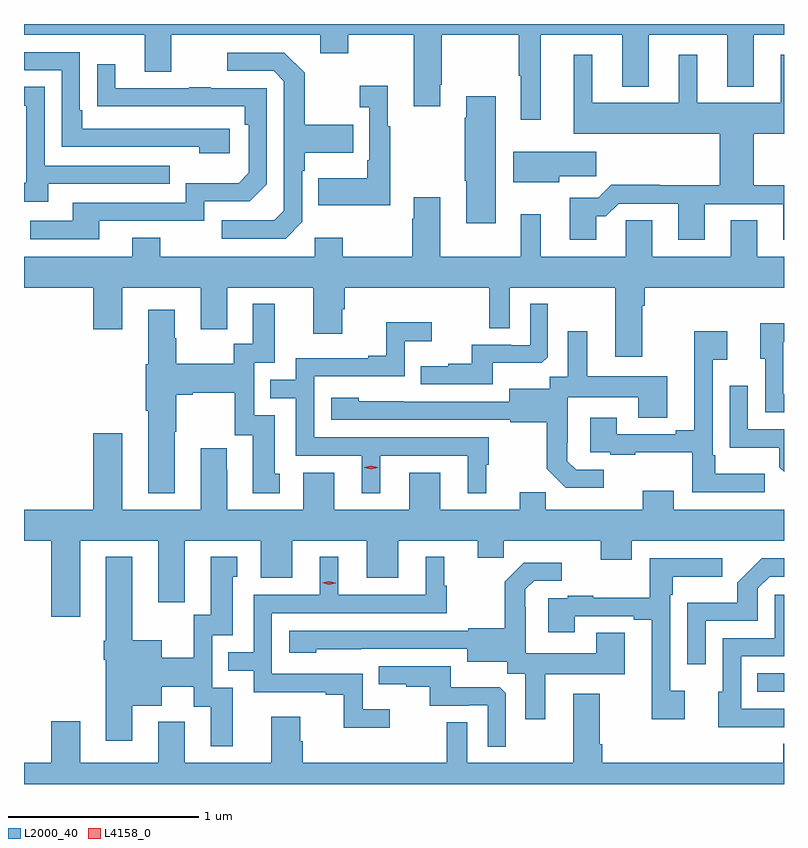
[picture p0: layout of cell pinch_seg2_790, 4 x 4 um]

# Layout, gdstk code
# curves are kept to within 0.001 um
import gdstk
lib = gdstk.Library(unit=1e-6, precision=1e-09)
def R(c, l, rs):  # rectangles x0, y0, x1, y1
    for r in rs: c.add(gdstk.rectangle(r[:2], r[2:], *l))
def P(c, l, *ps):  # polygons
    for p in ps: c.add(gdstk.Polygon(p, *l))
L2000_40 = (2000, 40)
L4158_0 = (4158, 0)

pinch_seg2_790 = lib.new_cell('pinch_seg2_790')
R(pinch_seg2_790, L2000_40, [(687.673,614.874,687.814,614.97)])
P(pinch_seg2_790, L2000_40, [(686.533,618.332),(686.963,618.332),(686.963,618.059),(687.103,618.059),(687.103,618.332),(687.515,618.332),(687.515,618.059),(687.655,618.059),(687.655,618.332),(687.814,618.332),(687.814,618.388),(683.814,618.388),(683.814,618.332),(684.449,618.332),(684.449,618.138),(684.589,618.138),(684.589,618.332),(685.373,618.332),(685.373,618.233),(685.521,618.233),(685.521,618.332),(685.865,618.332),(685.865,617.955),(686.005,617.955),(686.005,618.067),(686.013,618.067),(686.013,618.332),(686.419,618.332),(686.419,618.116),(686.429,618.116),(686.429,617.883),(686.533,617.883)],
  [(684.898,617.838),(684.121,617.838),(684.121,617.935),(684.108,617.935),(684.108,618.24),(683.814,618.24),(683.814,618.144),(684.012,618.144),(684.012,617.742),(684.737,617.742),(684.737,617.708),(684.898,617.708)],
  [(685.278,617.346),(685.278,617.615),(685.291,617.615),(685.291,617.711),(685.547,617.711),(685.547,617.859),(685.291,617.859),(685.291,618.131),(685.185,618.237),(684.885,618.237),(684.885,618.141),(685.128,618.141),(685.182,618.087),(685.182,617.406),(685.131,617.355),(684.855,617.355),(684.855,617.259),(685.191,617.259)],
  [(686.827,617.375),(686.876,617.375),(686.943,617.442),(687.257,617.442),(687.257,617.253),(687.397,617.253),(687.397,617.439),(687.809,617.439),(687.809,617.253),(687.814,617.253),(687.814,617.54),(687.654,617.54),(687.654,617.81),(687.814,617.81),(687.814,618.226),(687.797,618.226),(687.797,617.974),(687.358,617.974),(687.358,618.226),(687.26,618.226),(687.26,617.974),(686.806,617.974),(686.806,618.226),(686.708,618.226),(686.708,617.81),(687.476,617.81),(687.476,617.54),(687.161,617.54),(687.161,617.543),(686.906,617.543),(686.836,617.473),(686.687,617.473),(686.687,617.253),(686.827,617.253)],
  [(684.211,617.352),(684.762,617.352),(684.762,617.454),(685.002,617.454),(685.092,617.544),(685.092,618.051),(684.797,618.051),(684.797,618.056),(684.685,618.056),(684.685,618.051),(684.295,618.051),(684.295,618.175),(684.199,618.175),(684.199,617.956),(684.976,617.955),(684.976,617.858),(684.996,617.858),(684.996,617.604),(684.943,617.551),(684.666,617.551),(684.666,617.448),(684.071,617.448),(684.071,617.352),(683.847,617.352),(683.847,617.256),(684.211,617.256)],
  [(685.741,617.851),(685.729,617.851),(685.729,618.064),(685.581,618.064),(685.581,617.951),(685.632,617.951),(685.632,617.671),(685.62,617.671),(685.62,617.575),(685.363,617.575),(685.363,617.435),(685.741,617.435)],
  [(683.941,617.547),(684.581,617.547),(684.581,617.643),(683.922,617.643),(683.922,618.059),(683.814,618.059),(683.814,617.958),(683.826,617.958),(683.826,617.553),(683.814,617.553),(683.814,617.453),(683.941,617.453)],
  [(686.296,618.007),(686.141,618.007),(686.141,617.894),(686.134,617.894),(686.134,617.563),(686.141,617.563),(686.141,617.34),(686.296,617.34)],
  [(686.632,617.587),(686.827,617.587),(686.827,617.716),(686.388,617.716),(686.388,617.555),(686.632,617.555)],
  [(687.814,617.164),(687.673,617.164),(687.673,617.354),(687.533,617.354),(687.533,617.164),(687.121,617.164),(687.121,617.354),(686.982,617.354),(686.982,617.164),(686.533,617.164),(686.533,617.386),(686.429,617.386),(686.429,617.164),(686.005,617.164),(686.005,617.476),(685.865,617.476),(685.865,617.363),(685.858,617.363),(685.858,617.164),(685.491,617.164),(685.491,617.263),(685.344,617.263),(685.344,617.164),(684.531,617.164),(684.531,617.263),(684.383,617.263),(684.383,617.164),(683.814,617.164),(683.814,617),(684.179,617),(684.179,616.782),(684.331,616.782),(684.331,617),(684.743,617),(684.743,616.782),(684.883,616.782),(684.883,617),(685.337,617),(685.337,616.758),(685.489,616.758),(685.489,616.887),(685.502,616.887),(685.502,617),(686.262,617),(686.262,616.786),(686.37,616.786),(686.37,617),(686.927,617),(686.927,616.638),(687.067,616.638),(687.067,616.904),(687.08,616.904),(687.08,617),(687.814,617)],
  [(686.281,616.604),(686.539,616.604),(686.571,616.635),(686.571,616.915),(686.478,616.915),(686.478,616.698),(686.378,616.698),(686.378,616.701),(686.171,616.701),(686.171,616.6),(686.047,616.6),(686.047,616.588),(685.903,616.588),(685.903,616.491),(686.281,616.491)],
  [(684.607,616.243),(684.615,616.243),(684.615,616.436),(684.703,616.436),(684.703,616.448),(684.923,616.448),(684.923,616.224),(685.019,616.224),(685.019,615.918),(685.159,615.918),(685.159,616.02),(685.135,616.02),(685.135,616.329),(685.026,616.329),(685.026,616.605),(685.135,616.605),(685.135,616.915),(685.019,616.915),(685.019,616.706),(684.918,616.706),(684.918,616.6),(684.615,616.6),(684.615,616.734),(684.607,616.734),(684.607,616.885),(684.467,616.885),(684.467,616.596),(684.455,616.596),(684.455,616.352),(684.467,616.352),(684.467,615.917),(684.607,615.917)],
  [(685.69,616.116),(686.15,616.116),(686.15,615.917),(686.248,615.917),(686.248,616.068),(686.26,616.068),(686.26,616.212),(685.341,616.212),(685.341,616.533),(685.818,616.533),(685.818,616.718),(685.96,616.718),(685.96,616.817),(685.72,616.817),(685.72,616.642),(685.625,616.642),(685.625,616.629),(685.245,616.629),(685.245,616.515),(685.111,616.515),(685.111,616.419),(685.245,616.419),(685.245,616.116),(685.592,616.116),(685.592,615.917),(685.69,615.917)],
  [(687.814,616.44),(687.81,616.44),(687.81,616.716),(687.814,616.716),(687.814,616.814),(687.689,616.814),(687.689,616.626),(687.714,616.626),(687.714,616.344),(687.814,616.344)],
  [(687.712,616.021),(687.451,616.021),(687.451,616.117),(687.438,616.117),(687.438,616.622),(687.514,616.622),(687.514,616.771),(687.341,616.771),(687.341,616.249),(687.245,616.249),(687.245,616.23),(686.935,616.23),(686.935,616.315),(686.795,616.315),(686.795,616.134),(686.899,616.134),(686.899,616.122),(687.031,616.122),(687.031,616.133),(687.33,616.133),(687.33,615.924),(687.712,615.924)],
  [(686.866,616.041),(686.721,616.041),(686.674,616.088),(686.674,616.183),(686.676,616.183),(686.676,616.424),(687.047,616.424),(687.047,616.315),(687.199,616.315),(687.199,616.534),(686.779,616.534),(686.779,616.771),(686.675,616.771),(686.675,616.532),(686.58,616.532),(686.58,616.468),(686.369,616.468),(686.369,616.401),(685.575,616.402),(685.575,616.42),(685.431,616.42),(685.431,616.305),(686.373,616.305),(686.373,616.293),(686.565,616.293),(686.565,616.047),(686.665,615.947),(686.866,615.947)],
  [(687.814,616.254),(687.624,616.254),(687.624,616.483),(687.528,616.483),(687.528,616.157),(687.79,616.157),(687.79,616.055),(687.814,616.031)],
  [(684.109,615.668),(684.521,615.668),(684.521,615.345),(684.661,615.345),(684.661,615.668),(685.061,615.668),(685.061,615.474),(685.225,615.474),(685.225,615.668),(685.619,615.668),(685.619,615.474),(685.783,615.474),(685.783,615.668),(686.201,615.668),(686.201,615.578),(686.339,615.578),(686.339,615.668),(686.849,615.668),(686.849,615.569),(687.013,615.569),(687.013,615.668),(687.814,615.668),(687.814,615.832),(687.235,615.832),(687.235,615.931),(687.071,615.931),(687.071,615.832),(686.561,615.832),(686.561,615.923),(686.423,615.923),(686.423,615.832),(686.005,615.832),(686.005,616.027),(685.841,616.027),(685.841,615.832),(685.447,615.832),(685.447,616.027),(685.283,616.027),(685.283,615.832),(684.883,615.832),(684.883,616.043),(684.88,616.043),(684.88,616.156),(684.743,616.156),(684.743,615.832),(684.331,615.832),(684.331,616.234),(684.179,616.234),(684.179,615.832),(683.814,615.832),(683.814,615.668),(683.957,615.668),(683.957,615.267),(684.109,615.267)],
  [(685.738,614.782),(685.596,614.782),(685.596,614.967),(685.119,614.967),(685.119,615.288),(686.038,615.288),(686.038,615.432),(686.026,615.432),(686.026,615.583),(685.928,615.583),(685.928,615.384),(685.468,615.384),(685.468,615.583),(685.37,615.583),(685.37,615.384),(685.023,615.384),(685.023,615.081),(684.889,615.081),(684.889,614.985),(685.023,614.985),(685.023,614.871),(685.403,614.871),(685.403,614.859),(685.498,614.859),(685.498,614.684),(685.738,614.684)],
  [(684.913,614.895),(684.804,614.895),(684.804,615.171),(684.913,615.171),(684.913,615.48),(684.937,615.48),(684.937,615.583),(684.797,615.583),(684.797,615.279),(684.708,615.279),(684.708,615.052),(684.538,615.052),(684.538,615.145),(684.385,615.145),(684.385,615.583),(684.245,615.583),(684.245,615.141),(684.233,615.141),(684.233,615.041),(684.245,615.041),(684.245,614.616),(684.385,614.616),(684.385,614.801),(684.538,614.801),(684.538,614.9),(684.707,614.9),(684.707,614.794),(684.797,614.794),(684.797,614.586),(684.913,614.586)],
  [(687.292,614.878),(687.216,614.878),(687.216,615.383),(687.229,615.383),(687.229,615.479),(687.49,615.479),(687.49,615.576),(687.108,615.576),(687.108,615.368),(686.809,615.368),(686.809,615.379),(686.677,615.379),(686.677,615.366),(686.573,615.366),(686.573,615.186),(686.713,615.186),(686.713,615.27),(687.023,615.27),(687.023,615.252),(687.119,615.252),(687.119,614.73),(687.292,614.73)],
  [(687.402,615.246),(687.675,615.246),(687.675,615.417),(687.738,615.48),(687.814,615.48),(687.814,615.576),(687.698,615.576),(687.568,615.446),(687.568,615.343),(687.306,615.343),(687.306,615.018),(687.402,615.018)],
  [(686.557,614.966),(686.977,614.966),(686.977,615.185),(686.825,615.185),(686.825,615.076),(686.454,615.076),(686.454,615.317),(686.452,615.317),(686.452,615.412),(686.499,615.459),(686.644,615.459),(686.644,615.553),(686.443,615.553),(686.343,615.453),(686.343,615.208),(686.151,615.208),(686.151,615.195),(685.209,615.195),(685.209,615.08),(685.353,615.08),(685.353,615.098),(686.147,615.099),(686.147,615.032),(686.358,615.032),(686.358,614.968),(686.453,614.968),(686.453,614.73),(686.557,614.73)],
  [(687.685,614.688),(687.814,614.688),(687.814,614.784),(687.588,614.784),(687.588,615.06),(687.814,615.06),(687.814,615.385),(687.765,615.385),(687.765,615.156),(687.492,615.156),(687.492,614.874),(687.467,614.874),(687.467,614.687),(687.685,614.687)],
  [(686.349,614.865),(686.317,614.897),(686.059,614.897),(686.059,615.009),(685.681,615.009),(685.681,614.912),(685.825,614.912),(685.825,614.901),(685.949,614.901),(685.949,614.799),(686.156,614.799),(686.156,614.802),(686.256,614.802),(686.256,614.585),(686.349,614.585)],
  [(687.814,614.599),(687.809,614.599),(687.809,614.5),(686.858,614.5),(686.858,614.596),(686.845,614.596),(686.845,614.863),(686.705,614.863),(686.705,614.5),(686.148,614.5),(686.148,614.714),(686.04,614.714),(686.04,614.5),(685.28,614.5),(685.28,614.613),(685.267,614.613),(685.267,614.743),(685.115,614.743),(685.115,614.5),(684.661,614.5),(684.661,614.716),(684.521,614.716),(684.521,614.5),(684.109,614.5),(684.109,614.719),(683.957,614.719),(683.957,614.5),(683.814,614.5),(683.814,614.388),(687.814,614.388)])
P(pinch_seg2_790, L4158_0, [(685.641,616.044),(685.605,616.053),(685.605,616.054),(685.605,616.054),(685.641,616.064),(685.677,616.054),(685.677,616.054),(685.677,616.053)],
  [(685.419,615.436),(685.383,615.447),(685.383,615.447),(685.383,615.447),(685.419,615.456),(685.455,615.446),(685.455,615.445),(685.455,615.445)])

lib.write_gds('pinch_seg2_790.gds')
